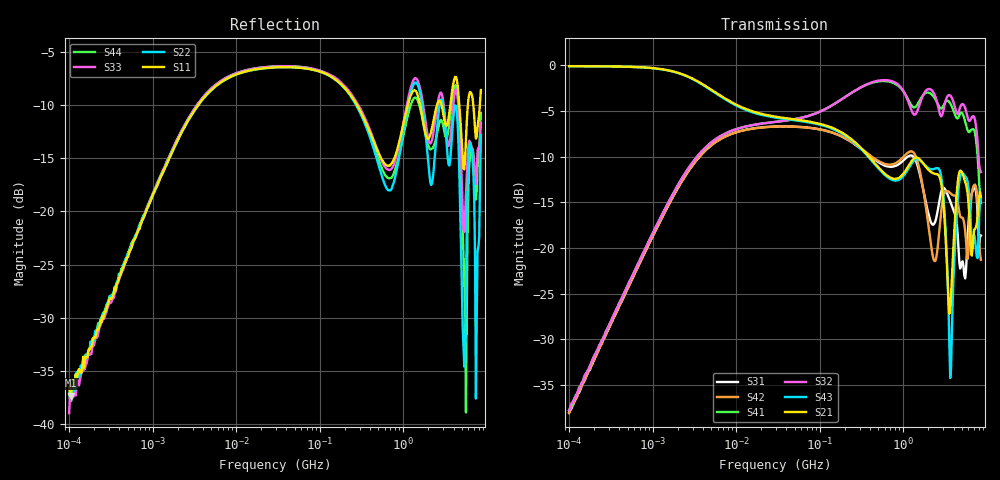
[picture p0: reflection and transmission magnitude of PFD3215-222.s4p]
# MHz S MA R 50
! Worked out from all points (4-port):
!   498 points, 100 kHz to 8.5 GHz, reference 50 ohm
!   strongest paths, dB at 100 kHz, 1.698 MHz, 29.49 MHz, 500.7 MHz, 8.5 GHz:
!     S21: -0.1, -0.6, -5.6, -11.1, -14.4
!     S43: -0.1, -0.7, -5.7, -11.2, -14.6
!     S32: -37.7, -14.3, -6.2, -1.7, -11.7
!     S41: -37.8, -14.3, -6.2, -1.8, -15.1
!     S42: -38.1, -14.6, -6.7, -10.5, -21.3
!     S31: -38.0, -14.6, -6.7, -10.6, -18.6
!   lowest |S11| = -37.3 dB at 104.7 kHz (marker M1), VSWR 1.03, Z = 50.7 + j1.19 ohm
!   |S11| at or under -10 dB: 1.591 GHz to 2.543 GHz (952.2 MHz wide, 46.1 % of centre); 4.688 GHz to 5.947 GHz (1.259 GHz wide, 23.7 % of centre); 6.891 GHz to 8.271 GHz (1.38 GHz wide, 18.2 % of centre)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
0.1  0.01491 62.7  0.9892 -0.7  0.01262 -92.7  0.01295 87.2
     0.9892 -0.7  0.01394 72.1  0.01296 87.0  0.01247 -92.8
     0.01262 -92.7  0.01296 87.0  0.01126 58.9  0.989 -0.8
     0.01295 87.2  0.01247 -92.8  0.989 -0.8  0.01379 73.0
0.1046735  0.01365 59.4  0.989 -0.8  0.01317 -92.4  0.01346 87.1
           0.989 -0.8  0.01367 70.7  0.01386 86.7  0.01317 -94.0
           0.01317 -92.4  0.01386 86.7  0.01313 62.3  0.9876 -0.8
           0.01346 87.1  0.01317 -94.0  0.9876 -0.8  0.01282 71.1
8.397683  0.4256 22.7  0.6363 -19.8  0.4183 -158.0  0.434 25.5
          0.6363 -19.8  0.4254 22.7  0.4343 25.5  0.4175 -158.2
          0.4183 -158.0  0.4343 25.5  0.4316 22.6  0.6288 -20.1
          0.434 25.5  0.4175 -158.2  0.6288 -20.1  0.4318 22.4
2592.178  0.3226 43.7  0.2525 58.0  0.1611 -151.0  0.6146 10.6
          0.2525 58.0  0.2682 50.2  0.6059 10.7  0.1023 -136.5
          0.1611 -151.0  0.6059 10.7  0.3222 33.0  0.2737 59.9
          0.6146 10.6  0.1023 -136.5  0.2737 59.9  0.2411 40.2
4000.492  0.4025 -123.3  0.105 -10.5  0.1614 -107.5  0.564 -176.7
          0.105 -10.5  0.2814 -117.8  0.6276 -170.8  0.1941 -111.5
          0.1614 -107.5  0.6276 -170.8  0.3224 -125.9  0.0692 -23.3
          0.564 -176.7  0.1941 -111.5  0.0692 -23.3  0.3703 -125.7
5507.7  0.1786 7.7  0.2306 50.2  0.06825 69.9  0.4919 -17.5
        0.2306 50.2  0.01966 -79.8  0.5853 -9.5  0.1245 21.0
        0.06825 69.9  0.5853 -9.5  0.09844 -29.9  0.2471 48.8
        0.4919 -17.5  0.1245 21.0  0.2471 48.8  0.03394 171.5
8500  0.371 -24.8  0.1912 16.2  0.1171 28.9  0.1763 -65.1
      0.1912 16.2  0.2274 2.0  0.2605 -54.2  0.08623 -6.5
      0.1171 28.9  0.2605 -54.2  0.2603 -30.8  0.186 20.5
      0.1763 -65.1  0.08623 -6.5  0.186 20.5  0.2898 -19.5
